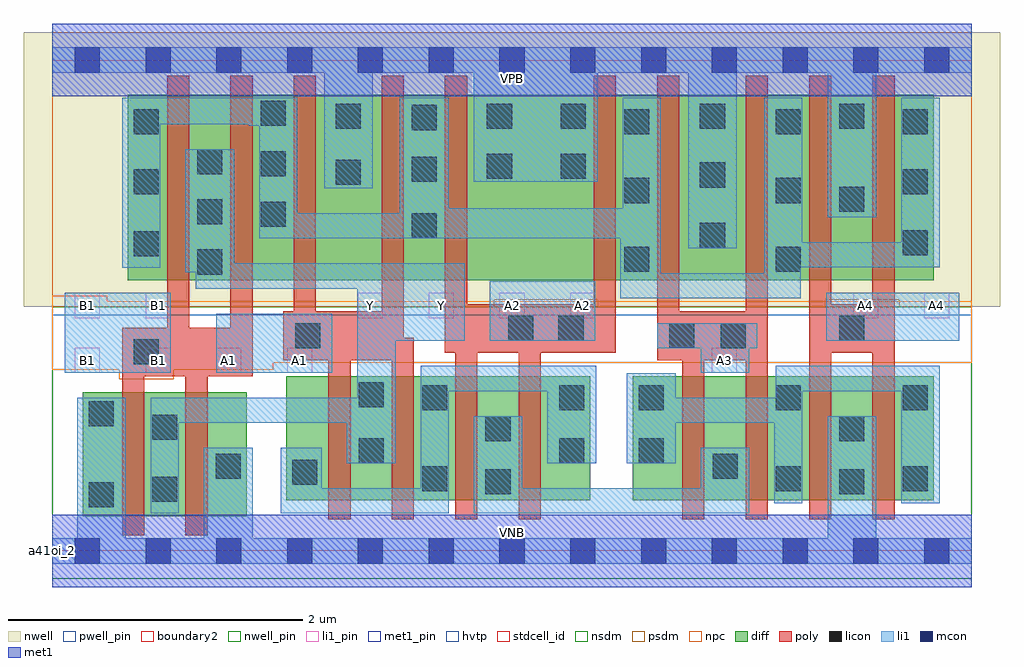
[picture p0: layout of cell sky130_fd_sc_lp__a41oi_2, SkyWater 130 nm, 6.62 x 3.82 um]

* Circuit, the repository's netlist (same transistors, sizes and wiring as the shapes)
* Copyright 2020 The SkyWater PDK Authors
*
* Licensed under the Apache License, Version 2.0 (the "License");
* you may not use this file except in compliance with the License.
* You may obtain a copy of the License at
*
*     https://www.apache.org/licenses/LICENSE-2.0
*
* Unless required by applicable law or agreed to in writing, software
* distributed under the License is distributed on an "AS IS" BASIS,
* WITHOUT WARRANTIES OR CONDITIONS OF ANY KIND, either express or implied.
* See the License for the specific language governing permissions and
* limitations under the License.
*
* SPDX-License-Identifier: Apache-2.0

.SUBCKT sky130_fd_sc_lp__a41oi_2 A1 A2 A3 A4 B1 VGND VNB VPB VPWR Y
*.PININFO A1:I A2:I A3:I A4:I B1:I VGND:I VNB:I VPB:I VPWR:I Y:O
MMPA0 pndA A1 VPWR VPB sky130_fd_pr__pfet_01v8_hvt m=2 w=1.26U l=0.15U mult=1 sa=0.265
+ sb=0.265 sd=0.28 area=0.063 perim=1.14
MMPA1 pndA A2 VPWR VPB sky130_fd_pr__pfet_01v8_hvt m=2 w=1.26U l=0.15U mult=1 sa=0.265
+ sb=0.265 sd=0.28 area=0.063 perim=1.14
MMPA2 pndA A3 VPWR VPB sky130_fd_pr__pfet_01v8_hvt m=2 w=1.26U l=0.15U mult=1 sa=0.265
+ sb=0.265 sd=0.28 area=0.063 perim=1.14
MMPA3 pndA A4 VPWR VPB sky130_fd_pr__pfet_01v8_hvt m=2 w=1.26U l=0.15U mult=1 sa=0.265
+ sb=0.265 sd=0.28 area=0.063 perim=1.14
MMPB0 Y B1 pndA VPB sky130_fd_pr__pfet_01v8_hvt m=2 w=1.26U l=0.15U mult=1 sa=0.265
+ sb=0.265 sd=0.28 area=0.063 perim=1.14
MMNA0 Y A1 sndA1 VNB sky130_fd_pr__nfet_01v8 m=2 w=0.84U l=0.15U mult=1 sa=0.265
+ sb=0.265 sd=0.28 area=0.063 perim=1.14
MMNA1 sndA1 A2 sndA2 VNB sky130_fd_pr__nfet_01v8 m=2 w=0.84U l=0.15U mult=1 sa=0.265
+ sb=0.265 sd=0.28 area=0.063 perim=1.14
MMNA2 sndA2 A3 sndA3 VNB sky130_fd_pr__nfet_01v8 m=2 w=0.84U l=0.15U mult=1 sa=0.265
+ sb=0.265 sd=0.28 area=0.063 perim=1.14
MMNA3 sndA3 A4 VGND VNB sky130_fd_pr__nfet_01v8 m=2 w=0.84U l=0.15U mult=1 sa=0.265
+ sb=0.265 sd=0.28 area=0.063 perim=1.14
MMNB0 Y B1 VGND VNB sky130_fd_pr__nfet_01v8 m=2 w=0.84U l=0.15U mult=1 sa=0.265
+ sb=0.265 sd=0.28 area=0.063 perim=1.14
.ENDS sky130_fd_sc_lp__a41oi_2

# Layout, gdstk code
import gdstk
lib = gdstk.Library(unit=1e-6, precision=1e-09)
def R(c, l, rs):  # rectangles x0, y0, x1, y1
    for r in rs: c.add(gdstk.rectangle(r[:2], r[2:], *l))
def A(c, l, x, y, w, h, nx, ny, dx, dy):  # array of equal rectangles
    R(c, l, [(x+i*dx, y+j*dy, x+i*dx+w, y+j*dy+h) for i in range(nx) for j in range(ny)])
def P(c, l, *ps):  # polygons
    for p in ps: c.add(gdstk.Polygon(p, *l))
nwell_pin = (64, 16)
nwell = (64, 20)
diff = (65, 20)
poly = (66, 20)
licon = (66, 44)
li1_pin = (67, 16)
li1 = (67, 20)
mcon = (67, 44)
met1_pin = (68, 16)
met1 = (68, 20)
hvtp = (78, 44)
stdcell_id = (81, 4)
nsdm = (93, 44)
psdm = (94, 20)
npc = (95, 20)
pwell_pin = (122, 16)
boundary2 = (236, 0)

sky130_fd_sc_lp__a41oi_2 = lib.new_cell('sky130_fd_sc_lp__a41oi_2')
R(sky130_fd_sc_lp__a41oi_2, nwell_pin, [(0,3.085,6.24,3.33)])
R(sky130_fd_sc_lp__a41oi_2, nwell, [(-0.19,1.655,6.43,3.52)])
R(sky130_fd_sc_lp__a41oi_2, diff, [(0.21,0.235,1.32,1.075), (1.59,0.345,3.65,1.185), (3.94,0.345,5.98,1.185), (0.515,1.835,5.98,3.095)])
P(sky130_fd_sc_lp__a41oi_2, poly, [(1.36,3.225),(1.21,3.225),(1.21,1.515),(0.93,1.515),(0.93,3.225),(0.78,3.225),(0.78,1.515),(0.475,1.515),(0.475,0.105),(0.625,0.105),(0.625,1.185),(0.905,1.185),(0.905,0.105),(1.055,0.105),(1.055,1.185),(1.36,1.185)],
  [(2.455,1.445),(2.385,1.445),(2.385,3.225),(2.235,3.225),(2.235,1.625),(1.79,1.625),(1.79,3.225),(1.64,3.225),(1.64,1.625),(1.57,1.625),(1.57,1.295),(1.875,1.295),(1.875,0.215),(2.025,0.215),(2.025,1.295),(2.305,1.295),(2.305,0.215),(2.455,0.215)],
  [(3.825,3.225),(3.675,3.225),(3.675,1.675),(2.815,1.675),(2.815,3.225),(2.665,3.225),(2.665,1.345),(2.735,1.345),(2.735,0.215),(2.885,0.215),(2.885,1.345),(3.165,1.345),(3.165,0.215),(3.315,0.215),(3.315,1.345),(3.825,1.345)],
  [(4.855,3.225),(4.705,3.225),(4.705,1.625),(4.255,1.625),(4.255,3.225),(4.105,3.225),(4.105,1.295),(4.275,1.295),(4.275,0.215),(4.425,0.215),(4.425,1.295),(4.705,1.295),(4.705,0.215),(4.855,0.215)],
  [(5.715,3.225),(5.565,3.225),(5.565,1.675),(5.285,1.675),(5.285,3.225),(5.135,3.225),(5.135,0.215),(5.285,0.215),(5.285,1.345),(5.565,1.345),(5.565,0.215),(5.715,0.215)])
A(sky130_fd_sc_lp__a41oi_2, licon, 0.985, 1.875, 0.17, 0.17, 1, 3, 0, 0.34)
A(sky130_fd_sc_lp__a41oi_2, licon, 3.88, 1.895, 0.17, 0.17, 1, 3, 0, 0.465)
A(sky130_fd_sc_lp__a41oi_2, licon, 4.91, 1.895, 0.17, 0.17, 1, 3, 0, 0.465)
A(sky130_fd_sc_lp__a41oi_2, licon, 3.45, 2.865, 0.17, 0.17, 3, 1, 0.945, 0)
R(sky130_fd_sc_lp__a41oi_2, licon, [(0.25,0.295,0.42,0.465), (0.68,0.335,0.85,0.505), (2.94,0.385,3.11,0.555), (5.34,0.385,5.51,0.555), (2.51,0.405,2.68,0.575), (4.91,0.405,5.08,0.575), (5.77,0.405,5.94,0.575), (1.63,0.45,1.8,0.62), (1.11,0.49,1.28,0.66), (4.48,0.49,4.65,0.66), (2.08,0.595,2.25,0.765), (3.44,0.595,3.61,0.765), (3.98,0.595,4.15,0.765), (2.94,0.745,3.11,0.915), (5.34,0.745,5.51,0.915), (0.68,0.755,0.85,0.925), (0.25,0.845,0.42,1.015), (2.51,0.955,2.68,1.125), (3.44,0.955,3.61,1.125), (3.98,0.955,4.15,1.125), (4.91,0.955,5.08,1.125), (5.77,0.955,5.94,1.125), (2.08,0.975,2.25,1.145), (0.555,1.265,0.725,1.435), (1.65,1.375,1.82,1.545), (4.185,1.375,4.355,1.545), (4.535,1.375,4.705,1.545), (3.095,1.425,3.265,1.595), (3.435,1.425,3.605,1.595), (5.34,1.425,5.51,1.595), (0.555,2,0.725,2.17), (5.77,2.005,5.94,2.175), (4.395,2.055,4.565,2.225), (2.44,2.12,2.61,2.29), (1.415,2.2,1.585,2.37), (5.34,2.3,5.51,2.47), (0.555,2.42,0.725,2.59), (5.77,2.42,5.94,2.59), (4.395,2.465,4.565,2.635), (1.925,2.485,2.095,2.655), (2.44,2.505,2.61,2.675), (2.95,2.525,3.12,2.695), (3.45,2.525,3.62,2.695), (1.415,2.54,1.585,2.71), (0.555,2.825,0.725,2.995), (5.77,2.825,5.94,2.995), (2.44,2.855,2.61,3.025), (1.925,2.865,2.095,3.035), (2.95,2.865,3.12,3.035), (1.415,2.885,1.585,3.055)])
A(sky130_fd_sc_lp__a41oi_2, li1_pin, 0.155, 1.21, 0.17, 0.17, 4, 1, 0.48, 0)
A(sky130_fd_sc_lp__a41oi_2, li1_pin, 2.075, 1.58, 0.17, 0.17, 4, 1, 0.48, 0)
R(sky130_fd_sc_lp__a41oi_2, li1_pin, [(4.475,1.21,4.645,1.38), (0.155,1.58,0.325,1.75), (0.635,1.58,0.805,1.75), (5.435,1.58,5.605,1.75), (5.915,1.58,6.085,1.75)])
R(sky130_fd_sc_lp__a41oi_2, li1, [(0.085,1.21,0.805,1.75), (1.115,1.21,1.9,1.61), (2.97,1.425,3.685,1.83), (5.25,1.425,6.155,1.75)])
P(sky130_fd_sc_lp__a41oi_2, li1, [(4.315,2.055),(4.315,3.245),(3.7,3.245),(3.7,2.505),(2.86,2.505),(2.86,3.245),(2.175,3.245),(2.175,2.46),(1.845,2.46),(1.845,3.245),(0,3.245),(0,3.415),(6.24,3.415),(6.24,3.245),(5.59,3.245),(5.59,2.265),(5.26,2.265),(5.26,3.245),(4.645,3.245),(4.645,2.055)],
  [(1.03,0.085),(1.03,0.7),(1.36,0.7),(1.36,0.085),(5.26,0.085),(5.26,0.915),(5.59,0.915),(5.59,0.085),(6.24,0.085),(6.24,-0.085),(0,-0.085),(0,0.085),(0.17,0.085),(0.17,1.04),(0.5,1.04),(0.5,0.085)],
  [(2.8,1.95),(1.235,1.95),(1.235,2.725),(0.905,2.725),(0.905,1.89),(0.975,1.89),(0.975,1.78),(2.07,1.78),(2.07,1.04),(0.67,1.04),(0.67,0.255),(0.86,0.255),(0.86,0.87),(2,0.87),(2,0.595),(2.33,0.595),(2.33,1.425),(2.8,1.425)],
  [(6.02,3.075),(5.76,3.075),(5.76,2.095),(5.09,2.095),(5.09,3.075),(4.83,3.075),(4.83,1.885),(4.13,1.885),(4.13,3.075),(3.87,3.075),(3.87,2.325),(2.69,2.325),(2.69,3.075),(2.36,3.075),(2.36,2.29),(1.665,2.29),(1.665,3.075),(0.475,3.075),(0.475,1.92),(0.735,1.92),(0.735,2.895),(1.335,2.895),(1.335,2.885),(1.405,2.885),(1.405,2.12),(3.855,2.12),(3.855,1.715),(5.08,1.715),(5.08,1.925),(6.02,1.925)],
  [(5.76,1.085),(5.09,1.085),(5.09,0.325),(4.9,0.325),(4.9,0.87),(4.23,0.87),(4.23,0.595),(3.9,0.595),(3.9,1.205),(4.23,1.205),(4.23,1.04),(4.91,1.04),(4.91,1.255),(6.02,1.255),(6.02,0.325),(5.76,0.325)],
  [(3.19,0.425),(4.4,0.425),(4.4,0.7),(4.73,0.7),(4.73,0.255),(2.86,0.255),(2.86,0.915),(3.19,0.915)],
  [(3.36,1.085),(2.69,1.085),(2.69,0.255),(1.55,0.255),(1.55,0.7),(1.83,0.7),(1.83,0.425),(2.5,0.425),(2.5,1.255),(3.69,1.255),(3.69,0.595),(3.36,0.595)],
  [(4.785,1.545),(4.105,1.545),(4.105,1.375),(4.4,1.375),(4.4,1.21),(4.73,1.21),(4.73,1.375),(4.785,1.375)])
A(sky130_fd_sc_lp__a41oi_2, mcon, 0.155, -0.085, 0.17, 0.17, 13, 2, 0.48, 3.33)
R(sky130_fd_sc_lp__a41oi_2, met1_pin, [(0,0,6.24,0.245), (0,3.085,6.24,3.33)])
R(sky130_fd_sc_lp__a41oi_2, met1, [(0,-0.245,6.24,0.245), (0,3.085,6.24,3.575)])
R(sky130_fd_sc_lp__a41oi_2, hvtp, [(0,1.6,6.24,3.33)])
R(sky130_fd_sc_lp__a41oi_2, stdcell_id, [(0,0,6.24,3.33)])
R(sky130_fd_sc_lp__a41oi_2, nsdm, [(0,-0.19,6.24,1.655)])
P(sky130_fd_sc_lp__a41oi_2, psdm, [(6.24,3.52),(0,3.52),(0,1.655),(3,1.655),(3,1.705),(3.7,1.705),(3.7,1.655),(5.245,1.655),(5.245,1.705),(5.745,1.705),(5.745,1.655),(6.24,1.655)])
P(sky130_fd_sc_lp__a41oi_2, npc, [(6.24,1.695),(0.375,1.695),(0.375,1.73),(0,1.73),(0,1.23),(0.455,1.23),(0.455,1.165),(0.825,1.165),(0.825,1.23),(1.5,1.23),(1.5,1.275),(6.24,1.275)])
R(sky130_fd_sc_lp__a41oi_2, pwell_pin, [(0,0,6.24,0.245)])
R(sky130_fd_sc_lp__a41oi_2, boundary2, [(0,0,6.24,3.33)])
sky130_fd_sc_lp__a41oi_2.add(gdstk.Label('VNB', (3.12,0.123), layer=64, texttype=59))
sky130_fd_sc_lp__a41oi_2.add(gdstk.Label('VPB', (3.12,3.208), layer=64, texttype=5))
sky130_fd_sc_lp__a41oi_2.add(gdstk.Label('a41oi_2', (0,0), layer=83, texttype=44))
sky130_fd_sc_lp__a41oi_2.add(gdstk.Label('VPWR', (3.12,3.208), layer=68, texttype=5))
sky130_fd_sc_lp__a41oi_2.add(gdstk.Label('VGND', (3.12,0.123), layer=68, texttype=5))
sky130_fd_sc_lp__a41oi_2.add(gdstk.Label('Y', (2.16,1.665), layer=67, texttype=5))
sky130_fd_sc_lp__a41oi_2.add(gdstk.Label('Y', (2.64,1.665), layer=67, texttype=5))
sky130_fd_sc_lp__a41oi_2.add(gdstk.Label('A1', (1.2,1.295), layer=67, texttype=5))
sky130_fd_sc_lp__a41oi_2.add(gdstk.Label('A1', (1.68,1.295), layer=67, texttype=5))
sky130_fd_sc_lp__a41oi_2.add(gdstk.Label('A2', (3.12,1.665), layer=67, texttype=5))
sky130_fd_sc_lp__a41oi_2.add(gdstk.Label('A2', (3.6,1.665), layer=67, texttype=5))
sky130_fd_sc_lp__a41oi_2.add(gdstk.Label('A3', (4.56,1.295), layer=67, texttype=5))
sky130_fd_sc_lp__a41oi_2.add(gdstk.Label('A4', (5.52,1.665), layer=67, texttype=5))
sky130_fd_sc_lp__a41oi_2.add(gdstk.Label('A4', (6,1.665), layer=67, texttype=5))
sky130_fd_sc_lp__a41oi_2.add(gdstk.Label('B1', (0.24,1.295), layer=67, texttype=5))
sky130_fd_sc_lp__a41oi_2.add(gdstk.Label('B1', (0.24,1.665), layer=67, texttype=5))
sky130_fd_sc_lp__a41oi_2.add(gdstk.Label('B1', (0.72,1.295), layer=67, texttype=5))
sky130_fd_sc_lp__a41oi_2.add(gdstk.Label('B1', (0.72,1.665), layer=67, texttype=5))

lib.write_gds('sky130_fd_sc_lp__a41oi_2.gds')
